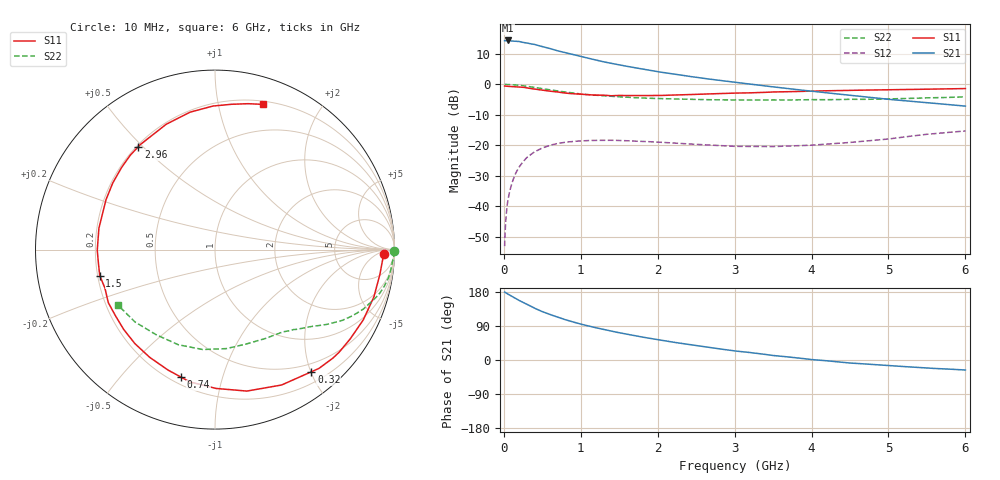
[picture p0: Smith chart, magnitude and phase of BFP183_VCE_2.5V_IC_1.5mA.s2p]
! Infineon Technologies  Discrete & RF Semiconductors
! BFP183
! VCE = 2.5 V,  IC =  1.5 mA
! Common Emitter S-Parameters:  Jan 2016
# GHz  S  MA  R  50
!  f  S11  S21  S12  S22
! GHz  MAG  ANG  MAG  ANG  MAG  ANG  MAG  ANG
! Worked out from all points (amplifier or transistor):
!   210 points, 10 MHz to 6 GHz, reference 50 ohm
!   highest |S21| = 14.4 dB at 50 MHz (marker M1)
!   |S21| within 3 dB of that: start of sweep to 644.5 MHz
!   unconditionally stable (mu >= 1): 2.254 GHz to 5.996 GHz
!   at 185 MHz: K = 0.08, MSG = 20.9 dB, |S12| = -27.8 dB
!   at 1.52 GHz: K = 0.65, MSG = 12.4 dB, |S12| = -18.4 dB
!   at 6 GHz: K = 1.00, MSG = 4.1 dB, |S12| = -15.3 dB
!   S11 on the Smith chart (normalised r, x): 10 MHz: 27, -12; 320 MHz: 0.37, -2.01; 740 MHz: 0.24, -0.74; 1.5 GHz: 0.21, -0.11; 2.96 GHz: 0.21, +0.48; 6 GHz: 0.23, +1.36
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0.01  0.9404 -1.6  5.213 179.2  0.0022 88.1  0.9998 -0.6
0.025  0.9343 -4.2  5.204 177.6  0.0058 85.7  0.9983 -1.6
0.05  0.929 -8.6  5.258 174.3  0.0119 86.2  0.9929 -3.1
0.115  0.9186 -19.2  5.136 166.9  0.0259 77.9  0.9845 -7.1
0.2  0.9028 -33.4  5.059 157.1  0.044 70.9  0.9657 -12.1
0.32  0.8672 -51.7  4.713 145.1  0.0658 60.0  0.9216 -18.1
0.4  0.8407 -63.8  4.521 136.5  0.0779 54.2  0.891 -21.8
0.5  0.808 -77.3  4.172 127.6  0.0903 46.8  0.8491 -25.8
0.6  0.7738 -89.5  3.871 120.0  0.1 40.6  0.8124 -29.0
0.74  0.7354 -104.9  3.457 110.4  0.109 33.4  0.7657 -32.4
0.9  0.7019 -121.2  3.098 100.3  0.1155 26.6  0.719 -36.0
1.02  0.6846 -132.1  2.834 93.7  0.118 22.5  0.6917 -38.1
1.22  0.6647 -147.8  2.469 84.1  0.1205 16.3  0.6595 -41.5
1.5  0.6583 -167.3  2.089 71.9  0.1199 10.3  0.6239 -45.6
1.8  0.6537 174.8  1.792 60.5  0.1158 6.4  0.5961 -50.1
2.02  0.6569 163.8  1.601 53.1  0.1122 4.3  0.5839 -53.6
2.4  0.6799 146.9  1.359 41.1  0.1052 2.4  0.5694 -60.6
2.96  0.7149 126.7  1.099 25.1  0.0965 5.1  0.5539 -71.6
3.1  0.7207 122.5  1.046 21.9  0.0957 6.6  0.5522 -74.7
4.1  0.7808 98.4  0.749 -0.4  0.1023 18.6  0.5596 -99.8
5.1  0.818 82.2  0.554 -16.1  0.1315 25.8  0.5789 -127.4
6  0.8522 71.7  0.439 -26.4  0.1716 21.4  0.624 -150.5
